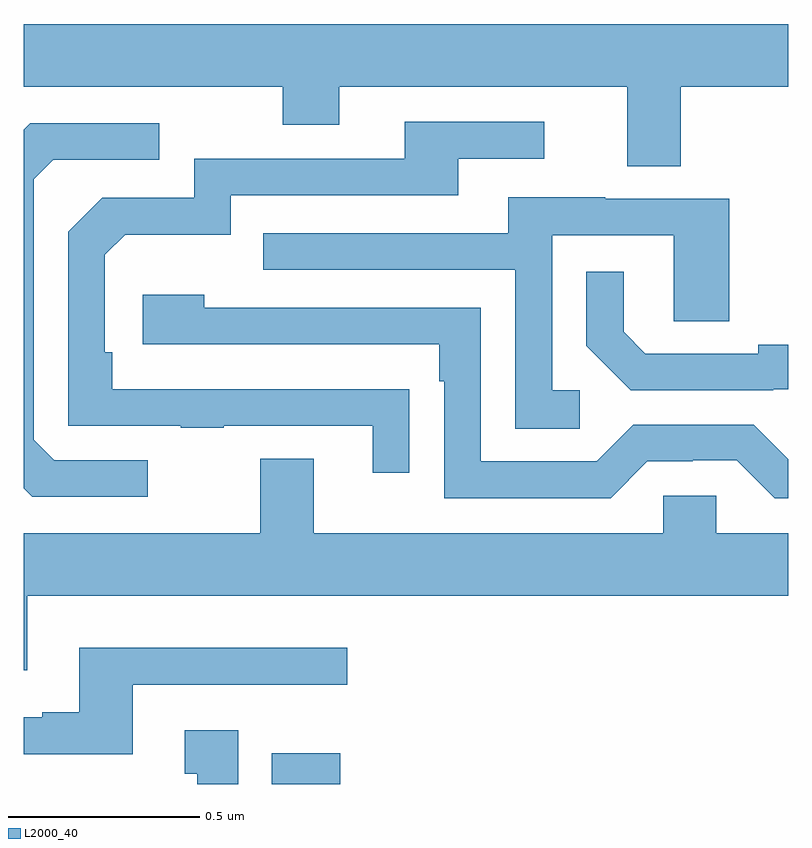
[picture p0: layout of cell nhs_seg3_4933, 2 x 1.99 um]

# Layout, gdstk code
import gdstk
lib = gdstk.Library(unit=1e-6, precision=1e-09)
def R(c, l, rs):  # rectangles x0, y0, x1, y1
    for r in rs: c.add(gdstk.rectangle(r[:2], r[2:], *l))
def P(c, l, *ps):  # polygons
    for p in ps: c.add(gdstk.Polygon(p, *l))
L2000_40 = (2000, 40)

nhs_seg3_4933 = lib.new_cell('nhs_seg3_4933')
R(nhs_seg3_4933, L2000_40, [(172.649,724.4,172.828,724.48)])
P(nhs_seg3_4933, L2000_40, [(172,726.224),(172.678,726.224),(172.678,726.125),(172.825,726.125),(172.825,726.224),(173.579,726.224),(173.579,726.016),(173.719,726.016),(173.719,726.224),(174,726.224),(174,726.388),(172,726.388)],
  [(173.009,725.432),(172.907,725.432),(172.907,725.433),(172.232,725.433),(172.232,725.53),(172.212,725.53),(172.212,725.784),(172.265,725.837),(172.542,725.837),(172.542,725.94),(173.137,725.94),(173.137,726.036),(173.362,726.036),(173.362,726.132),(172.997,726.132),(172.997,726.036),(172.446,726.036),(172.446,725.934),(172.206,725.934),(172.116,725.844),(172.116,725.337),(172.411,725.337),(172.411,725.332),(172.523,725.332),(172.523,725.337),(172.913,725.337),(172.913,725.214),(173.009,725.214)],
  [(172.324,725.247),(172.08,725.247),(172.026,725.301),(172.026,725.982),(172.077,726.033),(172.354,726.033),(172.354,726.129),(172.017,726.129),(172,726.112),(172,725.174),(172.023,725.151),(172.324,725.151)],
  [(173.455,725.43),(173.382,725.43),(173.382,725.835),(173.7,725.835),(173.7,725.611),(173.845,725.611),(173.845,725.931),(173.521,725.931),(173.521,725.935),(173.267,725.935),(173.267,725.841),(172.627,725.841),(172.627,725.745),(173.286,725.745),(173.286,725.329),(173.455,725.329)],
  [(173.96,725.433),(174,725.433),(174,725.549),(173.921,725.549),(173.921,725.526),(173.626,725.526),(173.569,725.583),(173.569,725.74),(173.472,725.74),(173.472,725.546),(173.588,725.43),(173.96,725.43)],
  [(174,725.25),(173.91,725.34),(173.595,725.34),(173.499,725.244),(173.196,725.244),(173.196,725.646),(172.472,725.646),(172.472,725.68),(172.311,725.68),(172.311,725.55),(173.087,725.55),(173.087,725.453),(173.1,725.453),(173.1,725.148),(173.535,725.148),(173.631,725.244),(173.75,725.244),(173.75,725.247),(173.865,725.247),(173.965,725.147),(174,725.147)],
  [(172.009,724.892),(174,724.892),(174,725.056),(173.811,725.056),(173.811,725.154),(173.673,725.154),(173.673,725.056),(172.759,725.056),(172.759,725.251),(172.619,725.251),(172.619,725.056),(172,725.056),(172,724.698),(172.009,724.698)],
  [(172.285,724.659),(172.846,724.659),(172.846,724.756),(172.145,724.756),(172.145,724.588),(172.049,724.588),(172.049,724.575),(172,724.575),(172,724.478),(172.285,724.478)],
  [(172.561,724.54),(172.421,724.54),(172.421,724.427),(172.454,724.427),(172.454,724.4),(172.561,724.4)])

lib.write_gds('nhs_seg3_4933.gds')
